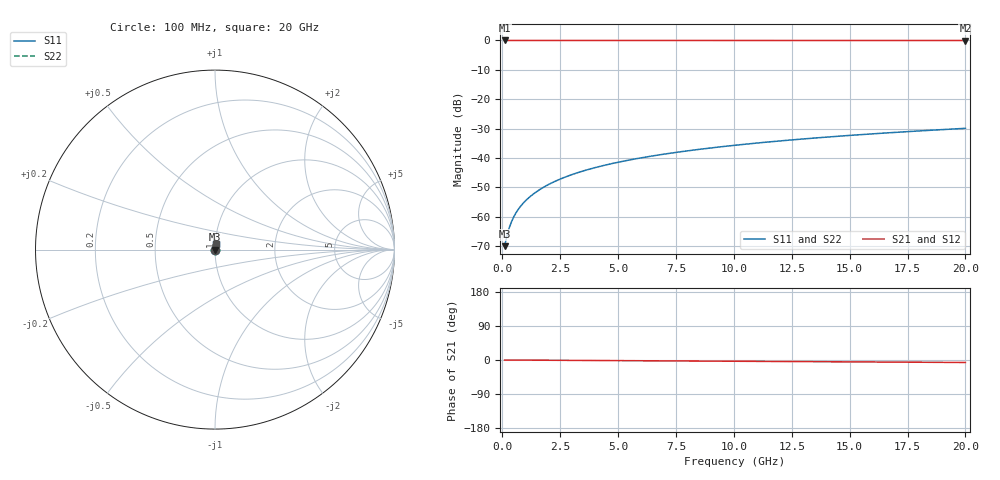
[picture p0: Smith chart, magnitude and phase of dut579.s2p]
! Touchstone file exported from HFSS 2026.1.0
!  File:  C:/ffzhzh/LocalFiles/Ansys_Project_Files/temp_train_TSV_579_1783024936_55676.aedt
!  Generated:  04:44:27 AM Jul  3, 2026
!  Design:  TSV
!  Project:  temp_train_TSV_579_1783024936_55676
! Variables:
!  h_bsmrdl = 2um
!  h_ox = 20um
!  h_rdl = 5um
!  h_sub = 61.42um
!  h_tmrdl = 5um
!  h_tsv = 61.42um
!  h_via = 3um
!  l_bsmrdl = 300um
!  l_sub = 411.68um
!  l_tmrdl = 200um
!  m_sub = 200um
!  pitch = 34.12um
!  r_tsv = 5.84um
!  s_tmrdl = 10um
!  w_bsmrdl = 18um
!  w_sub = 500um
!  w_tmrdl = 12um
!  x_tsv_center1 = 206um
!  x_tsv_center2 = 524um
!  x_tsv_center3 = 736um
!  x_tsv_center4 = 1054um
!  x_tsv_center5 = 1266um
!  x_tsv_center6 = 1584um
# GHz S MA R 50.000000
! Terminal data exported
! Port[1] = TSV1_1_T1
! Port[2] = TSV1_1_T2
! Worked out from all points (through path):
!   200 points, 100 MHz to 20 GHz, reference 50 ohm
!   highest |S21| = 0.00 dB at 100 MHz (marker M1); lowest = 0.0 dB at 20 GHz (marker M2)
!   lowest |S11| = -70.1 dB at 100 MHz (marker M3), VSWR 1.00, Z = 50 + j0.0198 ohm
!   |S11| at or under -10 dB: start of sweep to end of sweep
!   |S22| runs from -70.1 to -29.9 dB; largest |S21 - S12| = 3.2e-15
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0.1  0.0003133 39.2  0.9998 -0.0  0.9998 -0.0  0.0003133 39.2
! Gamma 0 0 0 0
! Port Impedance 50 0 50 0
0.2  0.0004677 57.2  0.9997 -0.1  0.9997 -0.1  0.0004677 57.2
0.3  0.0006426 65.2  0.9997 -0.1  0.9997 -0.1  0.0006426 65.2
0.4  0.0008209 69.5  0.9997 -0.1  0.9997 -0.1  0.0008209 69.5
0.5  0.0009977 72.0  0.9997 -0.2  0.9997 -0.2  0.0009977 72.0
0.7  0.001344 75.1  0.9997 -0.2  0.9997 -0.2  0.001344 75.1
0.8  0.001515 76.2  0.9996 -0.3  0.9996 -0.3  0.001515 76.2
1  0.001852 77.7  0.9996 -0.3  0.9996 -0.3  0.001852 77.7
1.2  0.002187 78.9  0.9996 -0.4  0.9996 -0.4  0.002187 78.9
1.4  0.002522 79.8  0.9996 -0.5  0.9996 -0.5  0.002522 79.8
1.7  0.003022 80.7  0.9995 -0.6  0.9995 -0.6  0.003022 80.7
2  0.003522 81.4  0.9995 -0.7  0.9995 -0.7  0.003522 81.4
2.7  0.004683 82.3  0.9994 -0.9  0.9994 -0.9  0.004683 82.3
3.5  0.005996 82.8  0.9994 -1.2  0.9994 -1.2  0.005996 82.8
4.2  0.007134 83.0  0.9993 -1.4  0.9993 -1.4  0.007134 83.0
5  0.008421 83.1  0.9992 -1.7  0.9992 -1.7  0.008421 83.1
6.8  0.01128 83.2  0.999 -2.2  0.999 -2.2  0.01128 83.2
8.3  0.01365 83.1  0.9989 -2.7  0.9989 -2.7  0.01365 83.1
10.1  0.01648 82.9  0.9988 -3.3  0.9988 -3.3  0.01648 82.9
13.4  0.02164 82.3  0.9985 -4.4  0.9985 -4.4  0.02164 82.3
16.7  0.02677 81.5  0.9983 -5.5  0.9983 -5.5  0.02677 81.5
20  0.03185 80.7  0.9979 -6.5  0.9979 -6.5  0.03185 80.7
